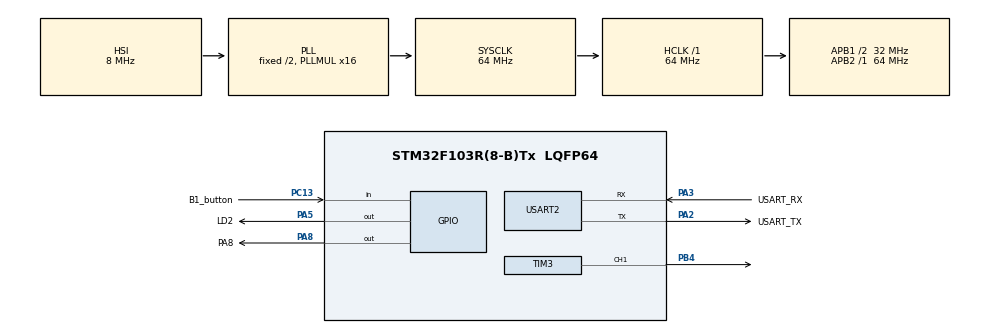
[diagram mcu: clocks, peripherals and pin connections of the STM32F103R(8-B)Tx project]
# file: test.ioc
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Mcu.Family=STM32F1
Mcu.Name=STM32F103R(8-B)Tx
Mcu.Package=LQFP64
NVIC.PriorityGroup=NVIC_PRIORITYGROUP_4
PA13.GPIO_Label=TMS
PA13.Mode=Serial_Wire
PA13.Signal=SYS_JTMS-SWDIO
PA14.GPIO_Label=TCK
PA14.Mode=Serial_Wire
PA14.Signal=SYS_JTCK-SWCLK
PA2.GPIO_Label=USART_TX
PA2.GPIO_Mode=GPIO_MODE_AF_PP
PA2.GPIO_PuPd=GPIO_NOPULL
PA2.GPIO_Speed=GPIO_SPEED_FREQ_LOW
PA2.Mode=Asynchronous
PA2.Signal=USART2_TX
PA3.GPIO_Label=USART_RX
PA3.GPIO_Mode=GPIO_MODE_AF_PP
PA3.GPIO_PuPd=GPIO_NOPULL
PA3.GPIO_Speed=GPIO_SPEED_FREQ_LOW
PA3.Mode=Asynchronous
PA3.Signal=USART2_RX
PA5.GPIO_Label=LD2
PA5.Signal=GPIO_Output
PA8.GPIO_Label=PA8
PA8.Signal=GPIO_Output
PB3.GPIO_Label=SWO
PB3.Signal=SYS_JTDO-TRACESWO
PB4.Signal=S_TIM3_CH1
PC13-TAMPER-RTC.GPIO_Label=B1_button
PC13-TAMPER-RTC.Signal=GPIO_Input
PC14-OSC32_IN.Mode=LSE-External-Oscillator
PC14-OSC32_IN.Signal=RCC_OSC32_IN
PC15-OSC32_OUT.Mode=LSE-External-Oscillator
PC15-OSC32_OUT.Signal=RCC_OSC32_OUT
PD0-OSC_IN.Mode=HSE-External-Clock-Source
PD0-OSC_IN.Signal=RCC_OSC_IN
PD1-OSC_OUT.Mode=HSE-External-Clock-Source
PD1-OSC_OUT.Signal=RCC_OSC_OUT
ProjectManager.HeapSize=0x200
ProjectManager.StackSize=0x400
ProjectManager.TargetToolchain=STM32CubeIDE
RCC.AHBFreq_Value=64000000
RCC.APB1CLKDivider=RCC_HCLK_DIV2
RCC.APB1Freq_Value=32000000
RCC.APB1TimFreq_Value=64000000
RCC.APB2Freq_Value=64000000
RCC.APB2TimFreq_Value=64000000
RCC.HCLKFreq_Value=64000000
RCC.PLLMUL=RCC_PLL_MUL16
RCC.RTCClockSelection=RCC_RTCCLKSOURCE_LSE
RCC.SYSCLKFreq_VALUE=64000000
RCC.SYSCLKSource=RCC_SYSCLKSOURCE_PLLCLK
RCC.USBFreq_Value=64000000
SH.S_TIM3_CH1.0=TIM3_CH1,PWM Generation1 CH1
TIM3.AutoReloadPreload=TIM_AUTORELOAD_PRELOAD_ENABLE
TIM3.Channel-PWM\ Generation1\ CH1=TIM_CHANNEL_1
TIM3.Period=65535
TIM3.Prescaler=1
USART2.VirtualMode=VM_ASYNC
VP_TIM3_VS_ClockSourceINT.Mode=Internal
board=NUCLEO-F103RB

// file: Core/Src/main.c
/* USER CODE BEGIN Header */
/**
  ******************************************************************************
  * @file           : main.c
  * @brief          : Main program body
  ******************************************************************************
  * @attention
  *
  * Copyright (c) 2025 STMicroelectronics.
  * All rights reserved.
  *
  * This software is licensed under terms that can be found in the LICENSE file
  * in the root directory of this software component.
  * If no LICENSE file comes with this software, it is provided AS-IS.
  *
  ******************************************************************************
  */
/* USER CODE END Header */
#include "main.h"

TIM_HandleTypeDef htim3;

UART_HandleTypeDef huart2;

void SystemClock_Config(void);
static void MX_GPIO_Init(void);
static void MX_USART2_UART_Init(void);
static void MX_TIM3_Init(void);

int main(void)
{

  /* MCU Configuration--------------------------------------------------------*/

  /* Reset of all peripherals, Initializes the Flash interface and the Systick. */
  HAL_Init();

  /* Configure the system clock */
  SystemClock_Config();

  /* Initialize all configured peripherals */
  MX_GPIO_Init();
  MX_USART2_UART_Init();
  MX_TIM3_Init();
  /* USER CODE BEGIN 2 */
  HAL_TIM_PWM_Start(&htim3, TIM_CHANNEL_1);
  uint8_t led_toggler = 1;
  uint16_t brightness = 0;
  /* USER CODE END 2 */

  /* Infinite loop */
  while (1)
  {

    /* USER CODE BEGIN 3 */
	  if(HAL_GPIO_ReadPin(B1_button_GPIO_Port, B1_button_Pin) == 0 && led_toggler == 1){
		  HAL_Delay(5);
		  if(HAL_GPIO_ReadPin(B1_button_GPIO_Port, B1_button_Pin) == 0){
  			  HAL_GPIO_TogglePin(LD2_GPIO_Port, LD2_Pin);
  			  HAL_GPIO_TogglePin(PA8_GPIO_Port, PA8_Pin);
			  brightness += 50;
			  if(brightness >= 255){
				  brightness = 0;
			  }
			  __HAL_TIM_SET_COMPARE(&htim3, TIM_CHANNEL_1, brightness);
			  led_toggler = 0;
		  }
	  }else if(HAL_GPIO_ReadPin(B1_button_GPIO_Port, B1_button_Pin) == 1){
		  led_toggler = 1;
	  }
  }
  /* USER CODE END 3 */
}

void SystemClock_Config(void)
{
  RCC_OscInitTypeDef RCC_OscInitStruct = {0};
  RCC_ClkInitTypeDef RCC_ClkInitStruct = {0};

  /** Initializes the RCC Oscillators according to the specified parameters
  * in the RCC_OscInitTypeDef structure.
  */
  RCC_OscInitStruct.OscillatorType = RCC_OSCILLATORTYPE_HSI;
  RCC_OscInitStruct.HSIState = RCC_HSI_ON;
  RCC_OscInitStruct.HSICalibrationValue = RCC_HSICALIBRATION_DEFAULT;
  RCC_OscInitStruct.PLL.PLLState = RCC_PLL_ON;
  RCC_OscInitStruct.PLL.PLLSource = RCC_PLLSOURCE_HSI_DIV2;
  RCC_OscInitStruct.PLL.PLLMUL = RCC_PLL_MUL16;
  if (HAL_RCC_OscConfig(&RCC_OscInitStruct) != HAL_OK)
  {
    Error_Handler();
  }

  /** Initializes the CPU, AHB and APB buses clocks
  */
  RCC_ClkInitStruct.ClockType = RCC_CLOCKTYPE_HCLK|RCC_CLOCKTYPE_SYSCLK
                              |RCC_CLOCKTYPE_PCLK1|RCC_CLOCKTYPE_PCLK2;
  RCC_ClkInitStruct.SYSCLKSource = RCC_SYSCLKSOURCE_PLLCLK;
  RCC_ClkInitStruct.AHBCLKDivider = RCC_SYSCLK_DIV1;
  RCC_ClkInitStruct.APB1CLKDivider = RCC_HCLK_DIV2;
  RCC_ClkInitStruct.APB2CLKDivider = RCC_HCLK_DIV1;

  if (HAL_RCC_ClockConfig(&RCC_ClkInitStruct, FLASH_LATENCY_2) != HAL_OK)
  {
    Error_Handler();
  }
}

static void MX_TIM3_Init(void)
{

  TIM_ClockConfigTypeDef sClockSourceConfig = {0};
  TIM_MasterConfigTypeDef sMasterConfig = {0};
  TIM_OC_InitTypeDef sConfigOC = {0};

  htim3.Instance = TIM3;
  htim3.Init.Prescaler = 1;
  htim3.Init.CounterMode = TIM_COUNTERMODE_UP;
  htim3.Init.Period = 65535;
  htim3.Init.ClockDivision = TIM_CLOCKDIVISION_DIV1;
  htim3.Init.AutoReloadPreload = TIM_AUTORELOAD_PRELOAD_ENABLE;
  if (HAL_TIM_Base_Init(&htim3) != HAL_OK)
  {
    Error_Handler();
  }
  sClockSourceConfig.ClockSource = TIM_CLOCKSOURCE_INTERNAL;
  if (HAL_TIM_ConfigClockSource(&htim3, &sClockSourceConfig) != HAL_OK)
  {
    Error_Handler();
  }
  if (HAL_TIM_PWM_Init(&htim3) != HAL_OK)
  {
    Error_Handler();
  }
  sMasterConfig.MasterOutputTrigger = TIM_TRGO_RESET;
  sMasterConfig.MasterSlaveMode = TIM_MASTERSLAVEMODE_DISABLE;
  if (HAL_TIMEx_MasterConfigSynchronization(&htim3, &sMasterConfig) != HAL_OK)
  {
    Error_Handler();
  }
  sConfigOC.OCMode = TIM_OCMODE_PWM1;
  sConfigOC.Pulse = 0;
  sConfigOC.OCPolarity = TIM_OCPOLARITY_HIGH;
  sConfigOC.OCFastMode = TIM_OCFAST_DISABLE;
  if (HAL_TIM_PWM_ConfigChannel(&htim3, &sConfigOC, TIM_CHANNEL_1) != HAL_OK)
  {
    Error_Handler();
  }
  HAL_TIM_MspPostInit(&htim3);

}

static void MX_USART2_UART_Init(void)
{

  huart2.Instance = USART2;
  huart2.Init.BaudRate = 115200;
  huart2.Init.WordLength = UART_WORDLENGTH_8B;
  huart2.Init.StopBits = UART_STOPBITS_1;
  huart2.Init.Parity = UART_PARITY_NONE;
  huart2.Init.Mode = UART_MODE_TX_RX;
  huart2.Init.HwFlowCtl = UART_HWCONTROL_NONE;
  huart2.Init.OverSampling = UART_OVERSAMPLING_16;
  if (HAL_UART_Init(&huart2) != HAL_OK)
  {
    Error_Handler();
  }

}

static void MX_GPIO_Init(void)
{
  GPIO_InitTypeDef GPIO_InitStruct = {0};

  /* GPIO Ports Clock Enable */
  __HAL_RCC_GPIOC_CLK_ENABLE();
  __HAL_RCC_GPIOD_CLK_ENABLE();
  __HAL_RCC_GPIOA_CLK_ENABLE();
  __HAL_RCC_GPIOB_CLK_ENABLE();

  /*Configure GPIO pin Output Level */
  HAL_GPIO_WritePin(GPIOA, LD2_Pin|PA8_Pin, GPIO_PIN_RESET);

  /*Configure GPIO pin : B1_button_Pin */
  GPIO_InitStruct.Pin = B1_button_Pin;
  GPIO_InitStruct.Mode = GPIO_MODE_INPUT;
  GPIO_InitStruct.Pull = GPIO_NOPULL;
  HAL_GPIO_Init(B1_button_GPIO_Port, &GPIO_InitStruct);

  /*Configure GPIO pins : LD2_Pin PA8_Pin */
  GPIO_InitStruct.Pin = LD2_Pin|PA8_Pin;
  GPIO_InitStruct.Mode = GPIO_MODE_OUTPUT_PP;
  GPIO_InitStruct.Pull = GPIO_NOPULL;
  GPIO_InitStruct.Speed = GPIO_SPEED_FREQ_LOW;
  HAL_GPIO_Init(GPIOA, &GPIO_InitStruct);

}

void Error_Handler(void)
{
  __disable_irq();
  while (1)
  {
  }
}
